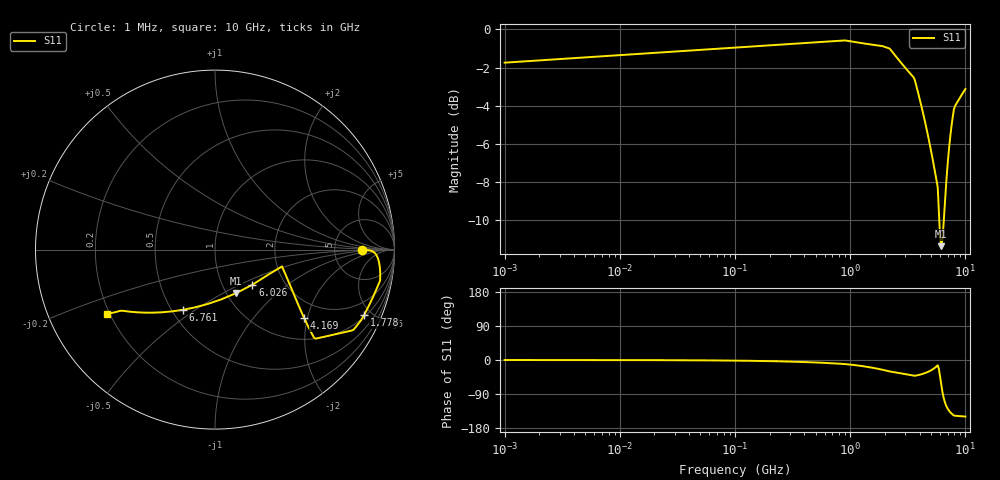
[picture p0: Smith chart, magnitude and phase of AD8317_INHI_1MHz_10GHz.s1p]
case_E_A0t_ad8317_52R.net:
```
# AD8317 INHI + 52.3 ohm
Pac:P1 n1 gnd Num="1" Z="50 Ohm" P="0 dBm" f="1e9"
SPfile:CHIP n1 gnd File="AD8317_INHI_1MHz_10GHz.s1p" Data="rectangular" Interpolator="linear" duringDC="open"
R:RT n1 gnd R="52.3 Ohm"
.SP:SP1 Type="log" Start="1e6" Stop="1e10" Points="401"
```
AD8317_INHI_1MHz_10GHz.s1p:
! AD8317 input impedance model, 1 MHz - 10 GHz (datasheet Rev.D R||C table, see ad8317_input_model.py)
! Reference impedance 50 ohm. INLO is ac-coupled RF common.
! 1-port: INHI to ground (INLO ac-grounded).
# HZ S RI R 50
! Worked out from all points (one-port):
!   401 points, 1 MHz to 10 GHz, reference 50 ohm
!   lowest |S11| = -11.4 dB at 6.166 GHz (marker M1), VSWR 1.74, Z = 55.5 - j29 ohm
!   |S11| at or under -10 dB: 5.935 GHz to 6.499 GHz (564.5 MHz wide, 9.08 % of centre)
!   S11 on the Smith chart (normalised r, x): 1 MHz: 10.00, -0.02; 1.778 GHz: 1.09, -4.50; 4.169 GHz: 1.53, -1.91; 6.026 GHz: 1.38, -0.59; 6.761 GHz: 0.57, -0.45; 10 GHz: 0.19, -0.27
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1000000  0.8182 -0.000363
2.187762e7  0.8696 -0.00639
4.677351e8  0.9184 -0.0991
9.332543e8  0.9167 -0.1806
1.778279e9  0.8301 -0.3654
2.238721e9  0.7617 -0.4511
3.467369e9  0.5707 -0.4941
4.168694e9  0.4965 -0.3808
5.495409e9  0.3928 -0.1381
6.025596e9  0.2087 -0.1955
6.16595e9  0.1187 -0.2421
6.76083e9  -0.1801 -0.3357
7.943282e9  -0.5132 -0.341
1e10  -0.5997 -0.3566
